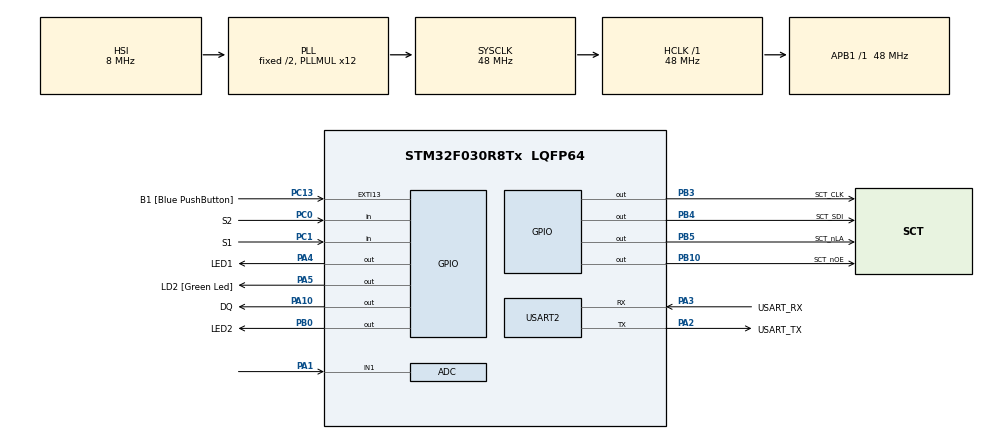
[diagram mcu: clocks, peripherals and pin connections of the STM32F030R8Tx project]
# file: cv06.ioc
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ADC.ContinuousConvMode=ENABLE
ADC.Overrun=ADC_OVR_DATA_OVERWRITTEN
ADC.Resolution=ADC_RESOLUTION_10B
Mcu.Family=STM32F0
Mcu.Name=STM32F030R8Tx
Mcu.Package=LQFP64
PA1.Mode=IN1
PA1.Signal=ADC_IN1
PA10.GPIO_Label=DQ
PA10.GPIO_ModeDefaultOutputPP=GPIO_MODE_OUTPUT_OD
PA10.GPIO_PuPd=GPIO_NOPULL
PA10.Signal=GPIO_Output
PA13.GPIO_Label=TMS
PA13.Mode=Serial_Wire
PA13.Signal=SYS_SWDIO
PA14.GPIO_Label=TCK
PA14.Mode=Serial_Wire
PA14.Signal=SYS_SWCLK
PA2.GPIO_Label=USART_TX
PA2.GPIO_Mode=GPIO_MODE_AF_PP
PA2.GPIO_PuPd=GPIO_NOPULL
PA2.GPIO_Speed=GPIO_SPEED_FREQ_LOW
PA2.Mode=Asynchronous
PA2.Signal=USART2_TX
PA3.GPIO_Label=USART_RX
PA3.GPIO_Mode=GPIO_MODE_AF_PP
PA3.GPIO_PuPd=GPIO_NOPULL
PA3.GPIO_Speed=GPIO_SPEED_FREQ_LOW
PA3.Mode=Asynchronous
PA3.Signal=USART2_RX
PA4.GPIO_Label=LED1
PA4.Signal=GPIO_Output
PA5.GPIO_Label=LD2 [Green Led]
PA5.GPIO_Mode=GPIO_MODE_OUTPUT_PP
PA5.GPIO_PuPd=GPIO_NOPULL
PA5.GPIO_Speed=GPIO_SPEED_FREQ_LOW
PA5.Signal=GPIO_Output
PB0.GPIO_Label=LED2
PB0.Signal=GPIO_Output
PB10.GPIO_Label=SCT_nOE
PB10.Signal=GPIO_Output
PB3.GPIO_Label=SCT_CLK
PB3.Signal=GPIO_Output
PB4.GPIO_Label=SCT_SDI
PB4.Signal=GPIO_Output
PB5.GPIO_Label=SCT_nLA
PB5.Signal=GPIO_Output
PC0.GPIO_Label=S2
PC0.GPIO_PuPd=GPIO_PULLUP
PC0.Signal=GPIO_Input
PC1.GPIO_Label=S1
PC1.GPIO_PuPd=GPIO_PULLUP
PC1.Signal=GPIO_Input
PC13.GPIO_Label=B1 [Blue PushButton]
PC13.GPIO_ModeDefaultEXTI=GPIO_MODE_IT_FALLING
PC13.Signal=GPXTI13
PC14-OSC32_IN.Mode=LSE-External-Oscillator
PC14-OSC32_IN.Signal=RCC_OSC32_IN
PC15-OSC32_OUT.Mode=LSE-External-Oscillator
PC15-OSC32_OUT.Signal=RCC_OSC32_OUT
PF0-OSC_IN.Mode=HSE-External-Clock-Source
PF0-OSC_IN.Signal=RCC_OSC_IN
PF1-OSC_OUT.Signal=RCC_OSC_OUT
ProjectManager.HeapSize=0x200
ProjectManager.StackSize=0x400
ProjectManager.TargetToolchain=STM32CubeIDE
RCC.AHBFreq_Value=48000000
RCC.APB1Freq_Value=48000000
RCC.APB1TimFreq_Value=48000000
RCC.HCLKFreq_Value=48000000
RCC.PLLMUL=RCC_PLL_MUL12
RCC.SYSCLKFreq_VALUE=48000000
RCC.SYSCLKSource=RCC_SYSCLKSOURCE_PLLCLK
USART2.VirtualMode-Asynchronous=VM_ASYNC
board=NUCLEO-F030R8

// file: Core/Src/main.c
/* USER CODE BEGIN Header */
/**
 ******************************************************************************
 * @file           : main.c
 * @brief          : Main program body
 ******************************************************************************
 * @attention
 *
 * Copyright (c) 2022 STMicroelectronics.
 * All rights reserved.
 *
 * This software is licensed under terms that can be found in the LICENSE file
 * in the root directory of this software component.
 * If no LICENSE file comes with this software, it is provided AS-IS.
 *
 ******************************************************************************
 */
/* USER CODE END Header */
#include "main.h"

/* USER CODE BEGIN Includes */
#include "1wire.h"
#include "sct.h"
#include "ntcLookup.h"
/* USER CODE END Includes */

ADC_HandleTypeDef hadc;

UART_HandleTypeDef huart2;

void SystemClock_Config(void);
static void MX_GPIO_Init(void);
static void MX_USART2_UART_Init(void);
static void MX_ADC_Init(void);

int main(void) {

	/* MCU Configuration--------------------------------------------------------*/

	/* Reset of all peripherals, Initializes the Flash interface and the Systick. */
	HAL_Init();

	/* Configure the system clock */
	SystemClock_Config();

	/* Initialize all configured peripherals */
	MX_GPIO_Init();
	MX_USART2_UART_Init();
	MX_ADC_Init();
	/* USER CODE BEGIN 2 */
	HAL_ADCEx_Calibration_Start(&hadc);
	HAL_ADC_Start(&hadc);
	OWInit();
	sct_init();

	OWConvertAll();
	HAL_Delay(CONVERT_T_DELAY);

	HAL_GPIO_WritePin(LED2_GPIO_Port, LED2_Pin, 1);
	/* USER CODE END 2 */

	/* Infinite loop */
	/* USER CODE BEGIN WHILE */
	while (1) {
		static uint32_t lastDisplayTicks = 0;
		static enum{STATE_18B20, STATE_NTC} state = STATE_18B20;

		if(!HAL_GPIO_ReadPin(S1_GPIO_Port, S1_Pin)) {
			HAL_GPIO_WritePin(LED2_GPIO_Port, LED2_Pin, 1);
			HAL_GPIO_WritePin(LED1_GPIO_Port, LED1_Pin, 0);
			state = STATE_18B20;
		} else if(!HAL_GPIO_ReadPin(S2_GPIO_Port, S2_Pin)) {
			HAL_GPIO_WritePin(LED2_GPIO_Port, LED2_Pin, 0);
			HAL_GPIO_WritePin(LED1_GPIO_Port, LED1_Pin, 1);
			state = STATE_NTC;
		}

		if(HAL_GetTick() >= lastDisplayTicks + CONVERT_T_DELAY) {
			lastDisplayTicks = HAL_GetTick();

			if(state == STATE_18B20) {
				int16_t temp_18b20;

				OWReadTemperature(&temp_18b20);
				sct_value_dots(temp_18b20/10, 2);

				OWConvertAll();
			} else {
				uint16_t adc = HAL_ADC_GetValue(&hadc);
				sct_value_dots(NTC_TEMP_LOOKUP[adc], 2);
			}

		}

		/* USER CODE END WHILE */

	}
}

void SystemClock_Config(void) {
	RCC_OscInitTypeDef RCC_OscInitStruct = { 0 };
	RCC_ClkInitTypeDef RCC_ClkInitStruct = { 0 };

	/** Initializes the RCC Oscillators according to the specified parameters
	 * in the RCC_OscInitTypeDef structure.
	 */
	RCC_OscInitStruct.OscillatorType = RCC_OSCILLATORTYPE_HSI
			| RCC_OSCILLATORTYPE_HSI14;
	RCC_OscInitStruct.HSIState = RCC_HSI_ON;
	RCC_OscInitStruct.HSI14State = RCC_HSI14_ON;
	RCC_OscInitStruct.HSICalibrationValue = RCC_HSICALIBRATION_DEFAULT;
	RCC_OscInitStruct.HSI14CalibrationValue = 16;
	RCC_OscInitStruct.PLL.PLLState = RCC_PLL_ON;
	RCC_OscInitStruct.PLL.PLLSource = RCC_PLLSOURCE_HSI;
	RCC_OscInitStruct.PLL.PLLMUL = RCC_PLL_MUL12;
	RCC_OscInitStruct.PLL.PREDIV = RCC_PREDIV_DIV1;
	if (HAL_RCC_OscConfig(&RCC_OscInitStruct) != HAL_OK) {
		Error_Handler();
	}

	/** Initializes the CPU, AHB and APB buses clocks
	 */
	RCC_ClkInitStruct.ClockType = RCC_CLOCKTYPE_HCLK | RCC_CLOCKTYPE_SYSCLK
			| RCC_CLOCKTYPE_PCLK1;
	RCC_ClkInitStruct.SYSCLKSource = RCC_SYSCLKSOURCE_PLLCLK;
	RCC_ClkInitStruct.AHBCLKDivider = RCC_SYSCLK_DIV1;
	RCC_ClkInitStruct.APB1CLKDivider = RCC_HCLK_DIV1;

	if (HAL_RCC_ClockConfig(&RCC_ClkInitStruct, FLASH_LATENCY_1) != HAL_OK) {
		Error_Handler();
	}
}

static void MX_ADC_Init(void) {

	ADC_ChannelConfTypeDef sConfig = { 0 };

	/** Configure the global features of the ADC (Clock, Resolution, Data Alignment and number of conversion)
	 */
	hadc.Instance = ADC1;
	hadc.Init.ClockPrescaler = ADC_CLOCK_ASYNC_DIV1;
	hadc.Init.Resolution = ADC_RESOLUTION_10B;
	hadc.Init.DataAlign = ADC_DATAALIGN_RIGHT;
	hadc.Init.ScanConvMode = ADC_SCAN_DIRECTION_FORWARD;
	hadc.Init.EOCSelection = ADC_EOC_SINGLE_CONV;
	hadc.Init.LowPowerAutoWait = DISABLE;
	hadc.Init.LowPowerAutoPowerOff = DISABLE;
	hadc.Init.ContinuousConvMode = ENABLE;
	hadc.Init.DiscontinuousConvMode = DISABLE;
	hadc.Init.ExternalTrigConv = ADC_SOFTWARE_START;
	hadc.Init.ExternalTrigConvEdge = ADC_EXTERNALTRIGCONVEDGE_NONE;
	hadc.Init.DMAContinuousRequests = DISABLE;
	hadc.Init.Overrun = ADC_OVR_DATA_OVERWRITTEN;
	if (HAL_ADC_Init(&hadc) != HAL_OK) {
		Error_Handler();
	}

	/** Configure for the selected ADC regular channel to be converted.
	 */
	sConfig.Channel = ADC_CHANNEL_1;
	sConfig.Rank = ADC_RANK_CHANNEL_NUMBER;
	sConfig.SamplingTime = ADC_SAMPLETIME_1CYCLE_5;
	if (HAL_ADC_ConfigChannel(&hadc, &sConfig) != HAL_OK) {
		Error_Handler();
	}

}

static void MX_USART2_UART_Init(void) {

	huart2.Instance = USART2;
	huart2.Init.BaudRate = 38400;
	huart2.Init.WordLength = UART_WORDLENGTH_8B;
	huart2.Init.StopBits = UART_STOPBITS_1;
	huart2.Init.Parity = UART_PARITY_NONE;
	huart2.Init.Mode = UART_MODE_TX_RX;
	huart2.Init.HwFlowCtl = UART_HWCONTROL_NONE;
	huart2.Init.OverSampling = UART_OVERSAMPLING_16;
	huart2.Init.OneBitSampling = UART_ONE_BIT_SAMPLE_DISABLE;
	huart2.AdvancedInit.AdvFeatureInit = UART_ADVFEATURE_NO_INIT;
	if (HAL_UART_Init(&huart2) != HAL_OK) {
		Error_Handler();
	}

}

static void MX_GPIO_Init(void) {
	GPIO_InitTypeDef GPIO_InitStruct = { 0 };

	/* GPIO Ports Clock Enable */
	__HAL_RCC_GPIOC_CLK_ENABLE();
	__HAL_RCC_GPIOF_CLK_ENABLE();
	__HAL_RCC_GPIOA_CLK_ENABLE();
	__HAL_RCC_GPIOB_CLK_ENABLE();

	/*Configure GPIO pin Output Level */
	HAL_GPIO_WritePin(GPIOA, GPIO_PIN_4 | GPIO_PIN_5 | GPIO_PIN_10,
			GPIO_PIN_RESET);

	/*Configure GPIO pin Output Level */
	HAL_GPIO_WritePin(GPIOB,
			GPIO_PIN_0 | GPIO_PIN_10 | GPIO_PIN_3 | GPIO_PIN_4 | GPIO_PIN_5,
			GPIO_PIN_RESET);

	/*Configure GPIO pin : PC13 */
	GPIO_InitStruct.Pin = GPIO_PIN_13;
	GPIO_InitStruct.Mode = GPIO_MODE_IT_FALLING;
	GPIO_InitStruct.Pull = GPIO_NOPULL;
	HAL_GPIO_Init(GPIOC, &GPIO_InitStruct);

	/*Configure GPIO pins : PC0 PC1 */
	GPIO_InitStruct.Pin = GPIO_PIN_0 | GPIO_PIN_1;
	GPIO_InitStruct.Mode = GPIO_MODE_INPUT;
	GPIO_InitStruct.Pull = GPIO_PULLUP;
	HAL_GPIO_Init(GPIOC, &GPIO_InitStruct);

	/*Configure GPIO pins : PA4 PA5 */
	GPIO_InitStruct.Pin = GPIO_PIN_4 | GPIO_PIN_5;
	GPIO_InitStruct.Mode = GPIO_MODE_OUTPUT_PP;
	GPIO_InitStruct.Pull = GPIO_NOPULL;
	GPIO_InitStruct.Speed = GPIO_SPEED_FREQ_LOW;
	HAL_GPIO_Init(GPIOA, &GPIO_InitStruct);

	/*Configure GPIO pins : PB0 PB10 PB3 PB4
	 PB5 */
	GPIO_InitStruct.Pin = GPIO_PIN_0 | GPIO_PIN_10 | GPIO_PIN_3 | GPIO_PIN_4
			| GPIO_PIN_5;
	GPIO_InitStruct.Mode = GPIO_MODE_OUTPUT_PP;
	GPIO_InitStruct.Pull = GPIO_NOPULL;
	GPIO_InitStruct.Speed = GPIO_SPEED_FREQ_LOW;
	HAL_GPIO_Init(GPIOB, &GPIO_InitStruct);

	/*Configure GPIO pin : PA10 */
	GPIO_InitStruct.Pin = GPIO_PIN_10;
	GPIO_InitStruct.Mode = GPIO_MODE_OUTPUT_OD;
	GPIO_InitStruct.Pull = GPIO_NOPULL;
	GPIO_InitStruct.Speed = GPIO_SPEED_FREQ_LOW;
	HAL_GPIO_Init(GPIOA, &GPIO_InitStruct);

}

void Error_Handler(void) {
	__disable_irq();
	while (1) {
	}
}
